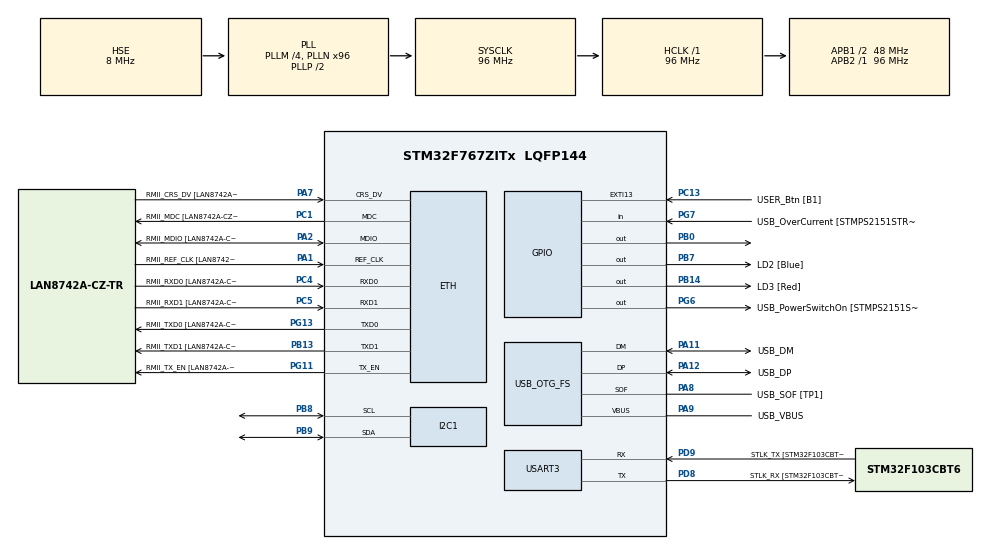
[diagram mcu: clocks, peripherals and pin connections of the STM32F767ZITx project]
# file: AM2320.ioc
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ETH.MediaInterface=ETH_MEDIA_INTERFACE_RMII
ETH.PHY_Name=LAN8742A_PHY_ADDRESS
ETH.PHY_Value=0
ETH.PhyAddress=0
I2C1.Timing=0x20303E5D
Mcu.Family=STM32F7
Mcu.Name=STM32F767ZITx
Mcu.Package=LQFP144
NVIC.PriorityGroup=NVIC_PRIORITYGROUP_4
PA1.GPIO_Label=RMII_REF_CLK [LAN8742A-CZ-TR_REFCLK0]
PA1.Mode=RMII
PA1.Signal=ETH_REF_CLK
PA10.GPIO_Label=USB_ID
PA10.Signal=USB_OTG_FS_ID
PA11.GPIO_Label=USB_DM
PA11.Mode=Device_Only
PA11.Signal=USB_OTG_FS_DM
PA12.GPIO_Label=USB_DP
PA12.Mode=Device_Only
PA12.Signal=USB_OTG_FS_DP
PA13.GPIO_Label=TMS
PA13.Mode=Serial_Wire
PA13.Signal=SYS_JTMS-SWDIO
PA14.GPIO_Label=TCK
PA14.Mode=Serial_Wire
PA14.Signal=SYS_JTCK-SWCLK
PA2.GPIO_Label=RMII_MDIO [LAN8742A-CZ-TR_MDIO]
PA2.Mode=RMII
PA2.Signal=ETH_MDIO
PA7.GPIO_Label=RMII_CRS_DV [LAN8742A-CZ-TR_CRS_DV]
PA7.Mode=RMII
PA7.Signal=ETH_CRS_DV
PA8.GPIO_Label=USB_SOF [TP1]
PA8.Mode=Activate_SOF_FS
PA8.Signal=USB_OTG_FS_SOF
PA9.GPIO_Label=USB_VBUS
PA9.Mode=Activate_VBUS
PA9.Signal=USB_OTG_FS_VBUS
PB0.Signal=GPIO_Output
PB13.GPIO_Label=RMII_TXD1 [LAN8742A-CZ-TR_TXD1]
PB13.Mode=RMII
PB13.Signal=ETH_TXD1
PB14.GPIO_Label=LD3 [Red]
PB14.Signal=GPIO_Output
PB3.GPIO_Label=SWO
PB3.Signal=SYS_JTDO-SWO
PB7.GPIO_Label=LD2 [Blue]
PB7.Signal=GPIO_Output
PB8.Mode=I2C
PB8.Signal=I2C1_SCL
PB9.Mode=I2C
PB9.Signal=I2C1_SDA
PC1.GPIO_Label=RMII_MDC [LAN8742A-CZ-TR_MDC]
PC1.Mode=RMII
PC1.Signal=ETH_MDC
PC13.GPIO_Label=USER_Btn [B1]
PC13.Signal=GPXTI13
PC14/OSC32_IN.Mode=LSE-External-Oscillator
PC14/OSC32_IN.Signal=RCC_OSC32_IN
PC15/OSC32_OUT.Mode=LSE-External-Oscillator
PC15/OSC32_OUT.Signal=RCC_OSC32_OUT
PC4.GPIO_Label=RMII_RXD0 [LAN8742A-CZ-TR_RXD0]
PC4.Mode=RMII
PC4.Signal=ETH_RXD0
PC5.GPIO_Label=RMII_RXD1 [LAN8742A-CZ-TR_RXD1]
PC5.Mode=RMII
PC5.Signal=ETH_RXD1
PD8.GPIO_Label=STLK_RX [STM32F103CBT6_PA3]
PD8.Mode=Asynchronous
PD8.Signal=USART3_TX
PD9.GPIO_Label=STLK_TX [STM32F103CBT6_PA2]
PD9.Mode=Asynchronous
PD9.Signal=USART3_RX
PG11.GPIO_Label=RMII_TX_EN [LAN8742A-CZ-TR_TXEN]
PG11.Mode=RMII
PG11.Signal=ETH_TX_EN
PG13.GPIO_Label=RMII_TXD0 [LAN8742A-CZ-TR_TXD0]
PG13.Mode=RMII
PG13.Signal=ETH_TXD0
PG6.GPIO_Label=USB_PowerSwitchOn [STMPS2151STR_EN]
PG6.Signal=GPIO_Output
PG7.GPIO_Label=USB_OverCurrent [STMPS2151STR_FAULT]
PG7.Signal=GPIO_Input
PH0/OSC_IN.GPIO_Label=MCO [STM32F103CBT6_PA8]
PH0/OSC_IN.Mode=HSE-External-Clock-Source
PH0/OSC_IN.Signal=RCC_OSC_IN
PH1/OSC_OUT.Mode=HSE-External-Clock-Source
PH1/OSC_OUT.Signal=RCC_OSC_OUT
ProjectManager.HeapSize=0x200
ProjectManager.StackSize=0x400
ProjectManager.TargetToolchain=MDK-ARM V5
RCC.48MHZClocksFreq_Value=24000000
RCC.AHBFreq_Value=96000000
RCC.APB1CLKDivider=RCC_HCLK_DIV2
RCC.APB1Freq_Value=48000000
RCC.APB1TimFreq_Value=96000000
RCC.APB2Freq_Value=96000000
RCC.APB2TimFreq_Value=96000000
RCC.CortexFreq_Value=96000000
RCC.HCLKFreq_Value=96000000
RCC.HSE_VALUE=8000000
RCC.HSI_VALUE=16000000
RCC.PLLM=4
RCC.PLLMUL=RCC_PLL_MUL9
RCC.PLLN=96
RCC.PLLQ=4
RCC.PRESCALERUSB=RCC_USBCLKSOURCE_PLL_DIV1_5
RCC.SYSCLKFreq_VALUE=96000000
RCC.SYSCLKSource=RCC_SYSCLKSOURCE_PLLCLK
RCC.SYSCLKSourceVirtual=RCC_SYSCLKSOURCE_PLLCLK
RCC.USBFreq_Value=48000000
RCC.VCOOutputFreq_Value=192000000
USART3.VirtualMode-Asynchronous=VM_ASYNC
USB_OTG_FS.VirtualMode=Device_Only
board=NUCLEO-F767ZI

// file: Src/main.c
/* USER CODE BEGIN Header */
/**
  ******************************************************************************
  * @file           : main.c
  * @brief          : Main program body
  ******************************************************************************
  * @attention
  *
  * <h2><center>&copy; Copyright (c) 2019 STMicroelectronics.
  * All rights reserved.</center></h2>
  *
  * This software component is licensed by ST under BSD 3-Clause license,
  * the "License"; You may not use this file except in compliance with the
  * License. You may obtain a copy of the License at:
  *                        opensource.org/licenses/BSD-3-Clause
  *
  ******************************************************************************
  */
/* USER CODE END Header */

#include "main.h"
#include "eth.h"
#include "i2c.h"
#include "usart.h"
#include "usb_otg.h"
#include "gpio.h"

/* USER CODE BEGIN Includes */
#include "string.h"
#include "stdio.h"
/* USER CODE END Includes */

/* USER CODE BEGIN PV */
float h,t;
uint8_t step=0;
uint16_t CRC16_2(uint8_t *,uint8_t);
/* USER CODE END PV */

void SystemClock_Config(void);

int main(void)
{
  /* USER CODE BEGIN 1 */
	char str[100];
	uint8_t cmdBuffer[3];
	uint8_t dataBuffer[8];
  /* USER CODE END 1 */

  /* MCU Configuration--------------------------------------------------------*/

  /* Reset of all peripherals, Initializes the Flash interface and the Systick. */
  HAL_Init();

  /* Configure the system clock */
  SystemClock_Config();

  /* Initialize all configured peripherals */
  MX_GPIO_Init();
  MX_ETH_Init();
  MX_I2C1_Init();
  MX_USART3_UART_Init();
  MX_USB_OTG_FS_PCD_Init();
  /* USER CODE BEGIN 2 */
	sprintf(str,"\n\rAM2320 I2C DEMO Starting . . .\n\r");

	HAL_UART_Transmit(&huart3,(uint8_t*)str,strlen(str),200);

	cmdBuffer[0] = 0x03;
	cmdBuffer[1] = 0x00;
	cmdBuffer[2] = 0x04;
  /* USER CODE END 2 */

  /* Infinite loop */
  while (1)
  {
		sprintf(str,"Temperature = %4.1f\tHumidity = %4.1f\n\r",t,h);
		while(__HAL_UART_GET_FLAG(&huart3,UART_FLAG_TC)==RESET){}
		HAL_UART_Transmit(&huart3,(uint8_t*)str,strlen(str),200);
		HAL_Delay(5000);
		HAL_GPIO_TogglePin(GPIOB,GPIO_PIN_0);

		//Wake up Sensor
		HAL_I2C_Master_Transmit(&hi2c1,0x5c<<1,cmdBuffer,3,200);
		//Send reading command
		HAL_I2C_Master_Transmit(&hi2c1,0x5c<<1,cmdBuffer,3,200);

		HAL_Delay(1);

		//Receive sensor data
		HAL_I2C_Master_Receive(&hi2c1,0x5c<<1,dataBuffer,8,200);

		//CRC Check
		uint16_t Rcrc = dataBuffer[7] <<8;
		Rcrc += dataBuffer[6];
		if(Rcrc == CRC16_2(dataBuffer,6)){
			uint16_t temperature = ((dataBuffer[4] & 0x7F) << 8) + dataBuffer[5];
			t = temperature/10.0;
			t=(((dataBuffer[4]&0x80)>>7)==1) ? (t * (-1)) : t;

			uint16_t humidity = (dataBuffer[2] << 8) + dataBuffer[3];
			h = humidity/10.0;
		}
  }
}

void SystemClock_Config(void)
{
  RCC_OscInitTypeDef RCC_OscInitStruct = {0};
  RCC_ClkInitTypeDef RCC_ClkInitStruct = {0};
  RCC_PeriphCLKInitTypeDef PeriphClkInitStruct = {0};

  /** Configure LSE Drive Capability
  */
  HAL_PWR_EnableBkUpAccess();
  /** Configure the main internal regulator output voltage
  */
  __HAL_RCC_PWR_CLK_ENABLE();
  __HAL_PWR_VOLTAGESCALING_CONFIG(PWR_REGULATOR_VOLTAGE_SCALE3);
  /** Initializes the CPU, AHB and APB busses clocks
  */
  RCC_OscInitStruct.OscillatorType = RCC_OSCILLATORTYPE_HSE;
  RCC_OscInitStruct.HSEState = RCC_HSE_BYPASS;
  RCC_OscInitStruct.PLL.PLLState = RCC_PLL_ON;
  RCC_OscInitStruct.PLL.PLLSource = RCC_PLLSOURCE_HSE;
  RCC_OscInitStruct.PLL.PLLM = 4;
  RCC_OscInitStruct.PLL.PLLN = 96;
  RCC_OscInitStruct.PLL.PLLP = RCC_PLLP_DIV2;
  RCC_OscInitStruct.PLL.PLLQ = 4;
  if (HAL_RCC_OscConfig(&RCC_OscInitStruct) != HAL_OK)
  {
    Error_Handler();
  }
  /** Activate the Over-Drive mode
  */
  if (HAL_PWREx_EnableOverDrive() != HAL_OK)
  {
    Error_Handler();
  }
  /** Initializes the CPU, AHB and APB busses clocks
  */
  RCC_ClkInitStruct.ClockType = RCC_CLOCKTYPE_HCLK|RCC_CLOCKTYPE_SYSCLK
                              |RCC_CLOCKTYPE_PCLK1|RCC_CLOCKTYPE_PCLK2;
  RCC_ClkInitStruct.SYSCLKSource = RCC_SYSCLKSOURCE_PLLCLK;
  RCC_ClkInitStruct.AHBCLKDivider = RCC_SYSCLK_DIV1;
  RCC_ClkInitStruct.APB1CLKDivider = RCC_HCLK_DIV2;
  RCC_ClkInitStruct.APB2CLKDivider = RCC_HCLK_DIV1;

  if (HAL_RCC_ClockConfig(&RCC_ClkInitStruct, FLASH_LATENCY_3) != HAL_OK)
  {
    Error_Handler();
  }
  PeriphClkInitStruct.PeriphClockSelection = RCC_PERIPHCLK_USART3|RCC_PERIPHCLK_I2C1
                              |RCC_PERIPHCLK_CLK48;
  PeriphClkInitStruct.Usart3ClockSelection = RCC_USART3CLKSOURCE_PCLK1;
  PeriphClkInitStruct.I2c1ClockSelection = RCC_I2C1CLKSOURCE_PCLK1;
  PeriphClkInitStruct.Clk48ClockSelection = RCC_CLK48SOURCE_PLL;
  if (HAL_RCCEx_PeriphCLKConfig(&PeriphClkInitStruct) != HAL_OK)
  {
    Error_Handler();
  }
}

/* USER CODE BEGIN 4 */
uint16_t CRC16_2(uint8_t *ptr,uint8_t length){
	uint16_t crc=0xFFFF;
	uint8_t s = 0x00;

	while(length--){
		crc ^= *ptr++;
		for(s = 0;s < 8; s++){
			if((crc & 0x01) != 0){
				crc >>=1;
				crc ^= 0xA001;
			}else crc >>=1;
		}
	}
	return crc;
}
/* USER CODE END 4 */

void Error_Handler(void)
{
}

/************************ (C) COPYRIGHT STMicroelectronics *****END OF FILE****/
